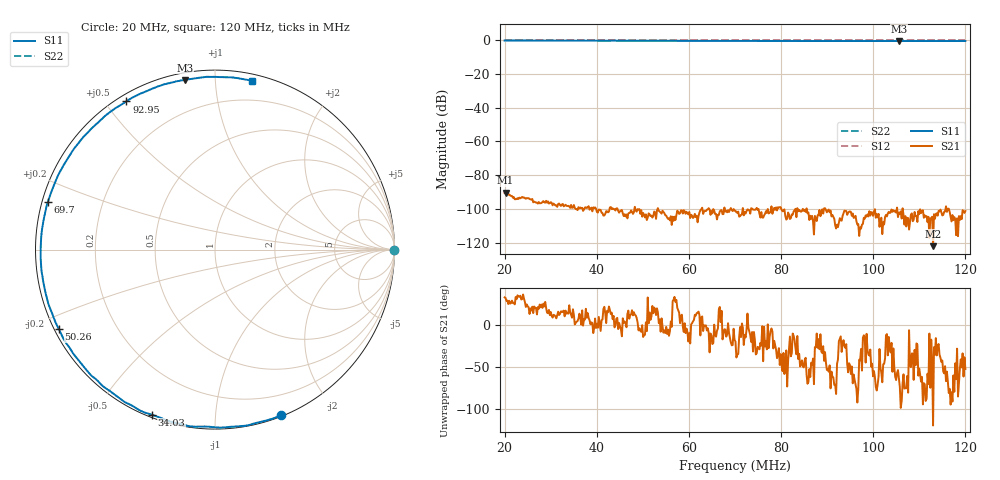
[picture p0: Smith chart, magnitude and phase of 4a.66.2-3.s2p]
! Anritsu VNA Master:  Model: MS2036C/10/77
! SN:  1601066
! /bd0/18may26.balun/4a.66.2.s2p
! Existing Calibration Information:
! TYPE:  Current Settings,  Active Cal Settings
! TIME:  05/26/2018 03:20:26 PM,  05/26/2018 02:51:55 PM
! INTERNAL TEMP:  59.8 C,  59.5 C
! # POINTS:  500,  500
! START FREQ:  20.000 MHz,  20.000 MHz
! STOP FREQ:  120.000 MHz,  120.000 MHz
! SOURCE POWER:  High,  High
! IFBW:  50 Hz,  50 Hz
! AVG FACTOR:  1 ,  1
! REF PLANE 1:  0 mm,  0 mm
! REF PLANE 2:  0 mm,  0 mm
! CAL TYPE:  Full S11,  Full S11
! CAL METHOD:  SOLT,  SOLT
! CAL LINE TYPE:  Coax,  Coax
! DUT PORT 1:  K-Conn(M),  K-Conn(M)
! DUT PORT 2:  K-Conn(M),  K-Conn(M)
! CAL STATUS:  OK: Accuracy High,  --
# GHZ S DB R 50.0
! FREQ.GHZ  S11DB  S11A  S21DB  S21A  S12DB  S12A  S22DB  S22A
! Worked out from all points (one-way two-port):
!   500 points, 20 MHz to 120 MHz, reference 50 ohm
!   highest |S21| = -90.42 dB at 20.2 MHz (marker M1); lowest = -122.2 dB at 113 MHz (marker M2)
!   lowest |S11| = -0.4 dB at 105.6 MHz (marker M3), VSWR 48.73, Z = 1.75 + j41.9 ohm
!   |S11| at or under -10 dB: nowhere
!   |S22| runs from 0.0 to 0.0 dB; largest |S21 - S12| = 1
!   S11 on the Smith chart (normalised r, x): 20 MHz: 0.01, -1.48; 34.03 MHz: 0.01, -0.69; 50.26 MHz: 0.01, -0.24; 69.7 MHz: 0.02, +0.14; 92.95 MHz: 0.03, +0.57; 120 MHz: 0.05, +1.24
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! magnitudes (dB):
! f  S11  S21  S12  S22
! 20 MHz  -0.1  -90.6  0.0  0.0
! 20.2 MHz  0.0  -90.4  0.0  0.0
! 22.4 MHz  -0.1  -94.3  0.0  0.0
! 23.81 MHz  0.0  -92.9  0.0  0.0
! 27.82 MHz  -0.1  -96.6  0.0  0.0
! 29.62 MHz  0.0  -96.8  0.0  0.0
! 34.03 MHz  -0.1  -98.5  0.0  0.0
! 35.23 MHz  -0.1  -99.4  0.0  0.0
! 36.83 MHz  -0.1  -99.4  0.0  0.0
! 39.44 MHz  -0.2  -99.5  0.0  0.0
! 50.26 MHz  -0.2  -103.5  0.0  0.0
! 53.47 MHz  -0.2  -101.2  0.0  0.0
! 69.7 MHz  -0.3  -100.1  0.0  0.0
! 70.1 MHz  -0.3  -101.1  0.0  0.0
! 86.73 MHz  -0.3  -104.2  0.0  0.0
! 88.34 MHz  -0.3  -100.7  0.0  0.0
! 92.95 MHz  -0.3  -106.8  0.0  0.0
! 103.4 MHz  -0.3  -101.8  0.0  0.0
! 105.6 MHz  -0.4  -102.2  0.0  0.0
! 110.2 MHz  -0.3  -100.3  0.0  0.0
! 113 MHz  -0.3  -122.2  0.0  0.0
! 120 MHz  -0.3  -101.3  0.0  0.0
